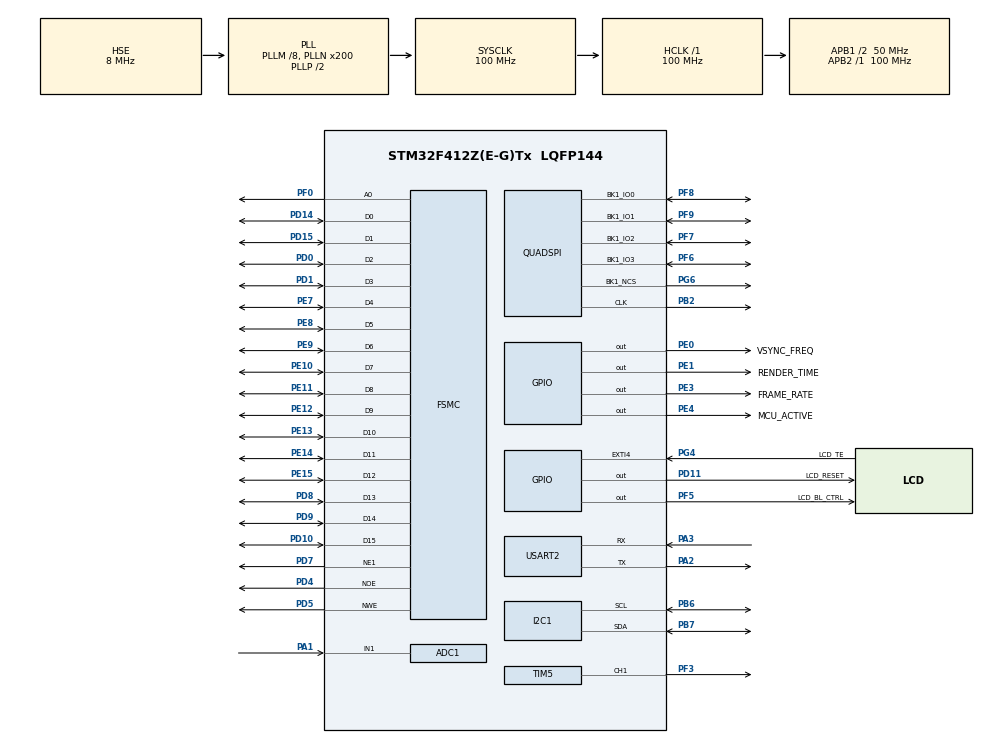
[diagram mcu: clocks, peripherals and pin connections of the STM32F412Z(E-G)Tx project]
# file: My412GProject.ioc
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ADC1.Channel-21\#ChannelRegularConversion=ADC_CHANNEL_1
ADC1.ContinuousConvMode=ENABLE
ADC1.DMAContinuousRequests=ENABLE
ADC1.NbrOfConversion=1
ADC1.NbrOfConversionFlag=1
ADC1.Rank-21\#ChannelRegularConversion=1
ADC1.SamplingTime-21\#ChannelRegularConversion=ADC_SAMPLETIME_3CYCLES
ADC1.ScanConvMode=ENABLE
ADC1.master=1
Dma.ADC1.0.Direction=DMA_PERIPH_TO_MEMORY
Dma.ADC1.0.FIFOMode=DMA_FIFOMODE_DISABLE
Dma.ADC1.0.Instance=DMA2_Stream0
Dma.ADC1.0.MemDataAlignment=DMA_MDATAALIGN_WORD
Dma.ADC1.0.MemInc=DMA_MINC_ENABLE
Dma.ADC1.0.Mode=DMA_CIRCULAR
Dma.ADC1.0.PeriphDataAlignment=DMA_PDATAALIGN_WORD
Dma.ADC1.0.PeriphInc=DMA_PINC_DISABLE
Dma.ADC1.0.Priority=DMA_PRIORITY_LOW
Dma.Request0=ADC1
FREERTOS.INCLUDE_eTaskGetState=1
FREERTOS.INCLUDE_pcTaskGetTaskName=0
FREERTOS.INCLUDE_uxTaskGetStackHighWaterMark=1
FREERTOS.INCLUDE_vTaskCleanUpResources=0
FREERTOS.INCLUDE_vTaskDelayUntil=1
FREERTOS.INCLUDE_xQueueGetMutexHolder=1
FREERTOS.INCLUDE_xSemaphoreGetMutexHolder=1
FREERTOS.INCLUDE_xTimerPendFunctionCall=1
FREERTOS.MEMORY_ALLOCATION=2
FREERTOS.Tasks01=defaultTask,24,128,StartDefaultTask,Default,NULL,Dynamic,NULL,NULL;TouchGFXTask,24,4096,TouchGFX_Task,As external,NULL,Dynamic,NULL,NULL;AdcAvgTask,8,512,StartAdcAvgTask,Default,NULL,Dynamic,NULL,NULL
FREERTOS.configTOTAL_HEAP_SIZE=32768
FREERTOS.configUSE_APPLICATION_TASK_TAG=1
FREERTOS.configUSE_COUNTING_SEMAPHORES=1
FREERTOS.configUSE_IDLE_HOOK=1
FREERTOS.configUSE_NEWLIB_REENTRANT=1
FREERTOS.configUSE_RECURSIVE_MUTEXES=1
FREERTOS.configUSE_TIMERS=1
FREERTOS.configUSE_TRACE_FACILITY=1
FSMC.AddressSetupTime1=9
FSMC.BusTurnAroundDuration1=1
FSMC.DataSetupTime1=36
FSMC.ExtendedAddressSetupTime1=1
FSMC.ExtendedBusTurnAroundDuration1=0
FSMC.ExtendedDataSetupTime1=7
FSMC.ExtendedMode1=FSMC_EXTENDED_MODE_ENABLE
FSMC.WriteFifo1=FSMC_WRITE_FIFO_DISABLE
FSMC.WriteOperation1=FSMC_WRITE_OPERATION_ENABLE
Mcu.Family=STM32F4
Mcu.Name=STM32F412Z(E-G)Tx
Mcu.Package=LQFP144
NVIC.DMA2_Stream0_IRQn=true\:5\:0\:false\:false\:true\:true\:false\:true\:true
NVIC.EXTI4_IRQn=true\:5\:0\:true\:false\:true\:false\:true\:true\:true
NVIC.I2C1_EV_IRQn=true\:1\:0\:true\:false\:true\:false\:true\:true\:true
NVIC.PriorityGroup=NVIC_PRIORITYGROUP_4
NVIC.TIM6_IRQn=true\:0\:0\:false\:false\:true\:false\:false\:true\:true
NVIC.TimeBase=TIM6_IRQn
NVIC.TimeBaseIP=TIM6
PA1.Signal=ADCx_IN1
PA2.Mode=Asynchronous
PA2.Signal=USART2_TX
PA3.Mode=Asynchronous
PA3.Signal=USART2_RX
PB2.Mode=Single Bank 1
PB2.Signal=QUADSPI_CLK
PB6.GPIO_Pu=GPIO_PULLUP
PB6.Mode=I2C
PB6.Signal=I2C1_SCL
PB7.GPIO_Pu=GPIO_PULLUP
PB7.Mode=I2C
PB7.Signal=I2C1_SDA
PD0.GPIO_PuPd=GPIO_PULLUP
PD0.Signal=FSMC_D2_DA2
PD1.GPIO_PuPd=GPIO_PULLUP
PD1.Signal=FSMC_D3_DA3
PD10.GPIO_PuPd=GPIO_PULLUP
PD10.Signal=FSMC_D15_DA15
PD11.GPIO_Label=LCD_RESET
PD11.Signal=GPIO_Output
PD14.GPIO_PuPd=GPIO_PULLUP
PD14.Signal=FSMC_D0_DA0
PD15.GPIO_PuPd=GPIO_PULLUP
PD15.Signal=FSMC_D1_DA1
PD4.GPIO_PuPd=GPIO_PULLUP
PD4.Signal=FSMC_NOE
PD5.GPIO_PuPd=GPIO_PULLUP
PD5.Signal=FSMC_NWE
PD7.GPIO_PuPd=GPIO_PULLUP
PD7.Mode=NorPsramChipSelect1_1
PD7.Signal=FSMC_NE1
PD8.GPIO_PuPd=GPIO_PULLUP
PD8.Signal=FSMC_D13_DA13
PD9.GPIO_PuPd=GPIO_PULLUP
PD9.Signal=FSMC_D14_DA14
PE0.GPIO_Label=VSYNC_FREQ
PE0.GPIO_Speed=GPIO_SPEED_FREQ_VERY_HIGH
PE0.PinState=GPIO_PIN_RESET
PE0.Signal=GPIO_Output
PE1.GPIO_Label=RENDER_TIME
PE1.GPIO_Speed=GPIO_SPEED_FREQ_VERY_HIGH
PE1.PinState=GPIO_PIN_RESET
PE1.Signal=GPIO_Output
PE10.GPIO_PuPd=GPIO_PULLUP
PE10.Signal=FSMC_D7_DA7
PE11.GPIO_PuPd=GPIO_PULLUP
PE11.Signal=FSMC_D8_DA8
PE12.GPIO_PuPd=GPIO_PULLUP
PE12.Signal=FSMC_D9_DA9
PE13.GPIO_PuPd=GPIO_PULLUP
PE13.Signal=FSMC_D10_DA10
PE14.GPIO_PuPd=GPIO_PULLUP
PE14.Signal=FSMC_D11_DA11
PE15.GPIO_PuPd=GPIO_PULLUP
PE15.Signal=FSMC_D12_DA12
PE3.GPIO_Label=FRAME_RATE
PE3.GPIO_Speed=GPIO_SPEED_FREQ_VERY_HIGH
PE3.PinState=GPIO_PIN_RESET
PE3.Signal=GPIO_Output
PE4.GPIO_Label=MCU_ACTIVE
PE4.GPIO_Speed=GPIO_SPEED_FREQ_VERY_HIGH
PE4.PinState=GPIO_PIN_RESET
PE4.Signal=GPIO_Output
PE7.GPIO_PuPd=GPIO_PULLUP
PE7.Signal=FSMC_D4_DA4
PE8.GPIO_PuPd=GPIO_PULLUP
PE8.Signal=FSMC_D5_DA5
PE9.GPIO_PuPd=GPIO_PULLUP
PE9.Signal=FSMC_D6_DA6
PF0.GPIO_PuPd=GPIO_PULLUP
PF0.Signal=FSMC_A0
PF3.Signal=S_TIM5_CH1
PF5.GPIO_Label=LCD_BL_CTRL
PF5.GPIO_Speed=GPIO_SPEED_FREQ_LOW
PF5.PinState=GPIO_PIN_RESET
PF5.Signal=GPIO_Output
PF6.Mode=Single Bank 1
PF6.Signal=QUADSPI_BK1_IO3
PF7.Mode=Single Bank 1
PF7.Signal=QUADSPI_BK1_IO2
PF8.Mode=Single Bank 1
PF8.Signal=QUADSPI_BK1_IO0
PF9.Mode=Single Bank 1
PF9.Signal=QUADSPI_BK1_IO1
PG4.GPIO_Label=LCD_TE
PG4.GPIO_ModeDefaultEXTI=GPIO_MODE_IT_RISING_FALLING
PG4.Signal=GPXTI4
PG6.Mode=Single Bank 1
PG6.Signal=QUADSPI_BK1_NCS
PH0\ -\ OSC_IN.Mode=HSE-External-Oscillator
PH0\ -\ OSC_IN.Signal=RCC_OSC_IN
PH1\ -\ OSC_OUT.Mode=HSE-External-Oscillator
PH1\ -\ OSC_OUT.Signal=RCC_OSC_OUT
ProjectManager.HeapSize=0x400
ProjectManager.StackSize=0x400
ProjectManager.TargetToolchain=STM32CubeIDE
QUADSPI.ChipSelectHighTime=QSPI_CS_HIGH_TIME_5_CYCLE
QUADSPI.ClockPrescaler=0
QUADSPI.FifoThreshold=4
QUADSPI.FlashSize=23
QUADSPI.SampleShifting=QSPI_SAMPLE_SHIFTING_HALFCYCLE
RCC.AHBFreq_Value=100000000
RCC.APB1CLKDivider=RCC_HCLK_DIV2
RCC.APB1Freq_Value=50000000
RCC.APB1TimFreq_Value=100000000
RCC.APB2Freq_Value=100000000
RCC.APB2TimFreq_Value=100000000
RCC.CortexFreq_Value=100000000
RCC.HCLKFreq_Value=100000000
RCC.HSE_VALUE=8000000
RCC.PLLI2SM=8
RCC.PLLI2SP=RCC_PLLI2SP_DIV4
RCC.PLLM=8
RCC.PLLN=200
RCC.PLLSourceVirtual=RCC_PLLSOURCE_HSE
RCC.SYSCLKFreq_VALUE=100000000
RCC.SYSCLKSource=RCC_SYSCLKSOURCE_PLLCLK
RCC.USBFreq_Value=100000000
RCC.VCOOutputFreq_Value=200000000
SH.ADCx_IN1.0=ADC1_IN1,IN1
SH.FSMC_A0.0=FSMC_A0,A0_1
SH.FSMC_D0_DA0.0=FSMC_D0,16b-d1
SH.FSMC_D10_DA10.0=FSMC_D10,16b-d1
SH.FSMC_D11_DA11.0=FSMC_D11,16b-d1
SH.FSMC_D12_DA12.0=FSMC_D12,16b-d1
SH.FSMC_D13_DA13.0=FSMC_D13,16b-d1
SH.FSMC_D14_DA14.0=FSMC_D14,16b-d1
SH.FSMC_D15_DA15.0=FSMC_D15,16b-d1
SH.FSMC_D1_DA1.0=FSMC_D1,16b-d1
SH.FSMC_D2_DA2.0=FSMC_D2,16b-d1
SH.FSMC_D3_DA3.0=FSMC_D3,16b-d1
SH.FSMC_D4_DA4.0=FSMC_D4,16b-d1
SH.FSMC_D5_DA5.0=FSMC_D5,16b-d1
SH.FSMC_D6_DA6.0=FSMC_D6,16b-d1
SH.FSMC_D7_DA7.0=FSMC_D7,16b-d1
SH.FSMC_D8_DA8.0=FSMC_D8,16b-d1
SH.FSMC_D9_DA9.0=FSMC_D9,16b-d1
SH.FSMC_NOE.0=FSMC_NOE,Lcd1
SH.FSMC_NWE.0=FSMC_NWE,Lcd1
SH.S_TIM5_CH1.0=TIM5_CH1,PWM Generation1 CH1
TIM5.AutoReloadPreload=TIM_AUTORELOAD_PRELOAD_ENABLE
TIM5.Channel-PWM\ Generation1\ CH1=TIM_CHANNEL_1
TIM5.Period=1000
USART2.VirtualMode=VM_ASYNC
VP_CRC_VS_CRC.Mode=CRC_Activate
VP_FREERTOS_VS_CMSIS_V2.Mode=CMSIS_V2
VP_SYS_VS_tim6.Mode=TIM6
VP_TIM5_VS_ClockSourceINT.Mode=Internal
board=custom

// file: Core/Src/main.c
/* USER CODE BEGIN Header */
/**
  ******************************************************************************
  * @file           : main.c
  * @brief          : Main program body
  ******************************************************************************
  * @attention
  *
  * <h2><center>&copy; Copyright (c) 2020 STMicroelectronics.
  * All rights reserved.</center></h2>
  *
  * This software component is licensed by ST under Ultimate Liberty license
  * SLA0044, the "License"; You may not use this file except in compliance with
  * the License. You may obtain a copy of the License at:
  *                             www.st.com/SLA0044
  *
  ******************************************************************************
  */
/* USER CODE END Header */
#include "main.h"
#include "cmsis_os.h"

/* USER CODE BEGIN Includes */
#if !defined(USE_BSP_DRIVER)
#include "../n25q128a/n25q128a.h"
#else
#include "stm32412g_discovery_qspi.h"
#endif /* ! USE_BSP_DRIVER */
/* USER CODE END Includes */

/* USER CODE BEGIN PTD */

/* INTERRUPT callback function */
/* UART handler declaration */

/* Private function prototypes -----------------------------------------------*/

#ifdef __GNUC__
/* With GCC, small printf (option LD Linker->Libraries->Small printf
   set to 'Yes') calls __io_putchar() */
#define PUTCHAR_PROTOTYPE int __io_putchar(int ch)
#else
#define PUTCHAR_PROTOTYPE int fputc(int ch, FILE *f)
#endif /* __GNUC__ */
static void SystemClock_Config(void);

/* Private functions ---------------------------------------------------------*/
#define ADC_SAMPLES_NUM 128
#define PWM_COUNTER_VAL 1024

ADC_HandleTypeDef hadc1;
TIM_HandleTypeDef htim5;

uint32_t adc_val;
float adc_avg;
volatile uint32_t buffer[ADC_SAMPLES_NUM];
uint32_t shadowBuffer[ADC_SAMPLES_NUM]; // Copy data here before processing
uint32_t pwm_div;

void HAL_ADC_ConvCpltCallback(ADC_HandleTypeDef* hadc)
{

    if (hadc->Instance == ADC1) // Check if it's the correct ADC
    {
        // Start ADC conversion again
        memcpy(shadowBuffer, buffer, sizeof(buffer)); // Copy stable data
    }
}
void AdcDmaStart()
{
    printf("AdcDmaStart \r\n");
    HAL_StatusTypeDef status = HAL_ADC_Start_DMA(&hadc1, buffer, ADC_SAMPLES_NUM);

    if (status != HAL_OK)
    {
        printf("ADC DMA Start Failed! Error: %d\r\n", status);
    }
    else
    {
        printf("ADC DMA Started Successfully!\r\n");
    }
    printf("ADC Interrupt Enabled: %lu\n", __HAL_ADC_GET_IT_SOURCE(&hadc1, ADC_IT_EOC));

}
void PwmSetDC(void *argument)
{
	if(pwm_div == 0 ){
		pwm_div = 1;
	}
  __HAL_TIM_SET_COMPARE(&htim5, TIM_CHANNEL_1, PWM_COUNTER_VAL * (float)((float)pwm_div / 100));
}
/* USER CODE END PTD */

/* USER CODE BEGIN PD */
/* QSPI Error codes */
#if !defined(USE_BSP_DRIVER)
#define QSPI_OK            ((uint8_t)0x00)
#define QSPI_ERROR         ((uint8_t)0x01)
#define QSPI_BUSY          ((uint8_t)0x02)
#define QSPI_NOT_SUPPORTED ((uint8_t)0x04)
#define QSPI_SUSPENDED     ((uint8_t)0x08)
#endif /* ! USE_BSP_DRIVER */
/* USER CODE END PD */

ADC_HandleTypeDef hadc1;
DMA_HandleTypeDef hdma_adc1;

CRC_HandleTypeDef hcrc;

I2C_HandleTypeDef hi2c1;

QSPI_HandleTypeDef hqspi;

TIM_HandleTypeDef htim5;

UART_HandleTypeDef huart2;

SRAM_HandleTypeDef hsram1;

/* Definitions for defaultTask */
osThreadId_t defaultTaskHandle;
const osThreadAttr_t defaultTask_attributes = {
  .name = "defaultTask",
  .stack_size = 128 * 4,
  .priority = (osPriority_t) osPriorityNormal,
};
/* Definitions for TouchGFXTask */
osThreadId_t TouchGFXTaskHandle;
const osThreadAttr_t TouchGFXTask_attributes = {
  .name = "TouchGFXTask",
  .stack_size = 4096 * 4,
  .priority = (osPriority_t) osPriorityNormal,
};
/* Definitions for AdcAvgTask */
osThreadId_t AdcAvgTaskHandle;
const osThreadAttr_t AdcAvgTask_attributes = {
  .name = "AdcAvgTask",
  .stack_size = 512 * 4,
  .priority = (osPriority_t) osPriorityLow,
};

void SystemClock_Config(void);
static void MX_GPIO_Init(void);
static void MX_DMA_Init(void);
static void MX_CRC_Init(void);
static void MX_FSMC_Init(void);
static void MX_QUADSPI_Init(void);
static void MX_USART2_UART_Init(void);
static void MX_TIM5_Init(void);
static void MX_ADC1_Init(void);
void StartDefaultTask(void *argument);
extern void TouchGFX_Task(void *argument);
void StartAdcAvgTask(void *argument);

/* USER CODE BEGIN PFP */
extern void TouchGFX_TickHandler(uint8_t PinStatus);
__weak uint8_t BSP_QSPI_EnableMemoryMappedMode(void);
/* USER CODE END PFP */

/* USER CODE BEGIN 0 */
PUTCHAR_PROTOTYPE
{
  /* Place your implementation of fputc here */
  /* e.g. write a character to the USART2 and Loop until the end of transmission */
  HAL_UART_Transmit(&huart2, (uint8_t *)&ch, 1, 0xFFFF);

  return ch;
}
/* USER CODE END 0 */

int main(void)
{

  /* MCU Configuration--------------------------------------------------------*/

  /* Reset of all peripherals, Initializes the Flash interface and the Systick. */
  HAL_Init();

  /* Configure the system clock */
  SystemClock_Config();

  /* Initialize all configured peripherals */
  MX_GPIO_Init();
  MX_DMA_Init();
  MX_CRC_Init();
  MX_FSMC_Init();
  MX_I2C1_Init();
  MX_QUADSPI_Init();
  MX_USART2_UART_Init();
  MX_TIM5_Init();
  MX_ADC1_Init();
  /* USER CODE BEGIN 2 */
  /* Call PreOsInit function */
  printf("STM32F412G Touch GFX Trial\n\r");
  HAL_TIM_PWM_Start(&htim5, TIM_CHANNEL_1);
  __HAL_TIM_SET_COMPARE(&htim5, TIM_CHANNEL_1, PWM_COUNTER_VAL/2);
  MX_TouchGFX_Init();
  MX_TouchGFX_PreOSInit();
  AdcDmaStart();
  /* USER CODE END 2 */

  /* Init scheduler */
  osKernelInitialize();

  /* Create the thread(s) */
  /* creation of defaultTask */
  defaultTaskHandle = osThreadNew(StartDefaultTask, NULL, &defaultTask_attributes);

  /* creation of TouchGFXTask */
  TouchGFXTaskHandle = osThreadNew(TouchGFX_Task, NULL, &TouchGFXTask_attributes);

  /* creation of AdcAvgTask */
  AdcAvgTaskHandle = osThreadNew(StartAdcAvgTask, NULL, &AdcAvgTask_attributes);

  /* Start scheduler */
  osKernelStart();

  /* We should never get here as control is now taken by the scheduler */

  /* Infinite loop */
  while (1)
  {

  }
}

void SystemClock_Config(void)
{
  RCC_OscInitTypeDef RCC_OscInitStruct = {0};
  RCC_ClkInitTypeDef RCC_ClkInitStruct = {0};

  /** Configure the main internal regulator output voltage
  */
  __HAL_RCC_PWR_CLK_ENABLE();
  __HAL_PWR_VOLTAGESCALING_CONFIG(PWR_REGULATOR_VOLTAGE_SCALE1);

  /** Initializes the RCC Oscillators according to the specified parameters
  * in the RCC_OscInitTypeDef structure.
  */
  RCC_OscInitStruct.OscillatorType = RCC_OSCILLATORTYPE_HSE;
  RCC_OscInitStruct.HSEState = RCC_HSE_ON;
  RCC_OscInitStruct.PLL.PLLState = RCC_PLL_ON;
  RCC_OscInitStruct.PLL.PLLSource = RCC_PLLSOURCE_HSE;
  RCC_OscInitStruct.PLL.PLLM = 8;
  RCC_OscInitStruct.PLL.PLLN = 200;
  RCC_OscInitStruct.PLL.PLLP = RCC_PLLP_DIV2;
  RCC_OscInitStruct.PLL.PLLQ = 2;
  RCC_OscInitStruct.PLL.PLLR = 2;
  if (HAL_RCC_OscConfig(&RCC_OscInitStruct) != HAL_OK)
  {
    Error_Handler();
  }

  /** Initializes the CPU, AHB and APB buses clocks
  */
  RCC_ClkInitStruct.ClockType = RCC_CLOCKTYPE_HCLK|RCC_CLOCKTYPE_SYSCLK
                              |RCC_CLOCKTYPE_PCLK1|RCC_CLOCKTYPE_PCLK2;
  RCC_ClkInitStruct.SYSCLKSource = RCC_SYSCLKSOURCE_PLLCLK;
  RCC_ClkInitStruct.AHBCLKDivider = RCC_SYSCLK_DIV1;
  RCC_ClkInitStruct.APB1CLKDivider = RCC_HCLK_DIV2;
  RCC_ClkInitStruct.APB2CLKDivider = RCC_HCLK_DIV1;

  if (HAL_RCC_ClockConfig(&RCC_ClkInitStruct, FLASH_LATENCY_3) != HAL_OK)
  {
    Error_Handler();
  }
}

static void MX_ADC1_Init(void)
{

  ADC_ChannelConfTypeDef sConfig = {0};

  /** Configure the global features of the ADC (Clock, Resolution, Data Alignment and number of conversion)
  */
  hadc1.Instance = ADC1;
  hadc1.Init.ClockPrescaler = ADC_CLOCK_SYNC_PCLK_DIV4;
  hadc1.Init.Resolution = ADC_RESOLUTION_12B;
  hadc1.Init.ScanConvMode = ENABLE;
  hadc1.Init.ContinuousConvMode = ENABLE;
  hadc1.Init.DiscontinuousConvMode = DISABLE;
  hadc1.Init.ExternalTrigConvEdge = ADC_EXTERNALTRIGCONVEDGE_NONE;
  hadc1.Init.ExternalTrigConv = ADC_SOFTWARE_START;
  hadc1.Init.DataAlign = ADC_DATAALIGN_RIGHT;
  hadc1.Init.NbrOfConversion = 1;
  hadc1.Init.DMAContinuousRequests = ENABLE;
  hadc1.Init.EOCSelection = ADC_EOC_SINGLE_CONV;
  if (HAL_ADC_Init(&hadc1) != HAL_OK)
  {
    Error_Handler();
  }

  /** Configure for the selected ADC regular channel its corresponding rank in the sequencer and its sample time.
  */
  sConfig.Channel = ADC_CHANNEL_1;
  sConfig.Rank = 1;
  sConfig.SamplingTime = ADC_SAMPLETIME_3CYCLES;
  if (HAL_ADC_ConfigChannel(&hadc1, &sConfig) != HAL_OK)
  {
    Error_Handler();
  }

}

static void MX_CRC_Init(void)
{

  hcrc.Instance = CRC;
  if (HAL_CRC_Init(&hcrc) != HAL_OK)
  {
    Error_Handler();
  }

}

void MX_I2C1_Init(void)
{

  hi2c1.Instance = I2C1;
  hi2c1.Init.ClockSpeed = 100000;
  hi2c1.Init.DutyCycle = I2C_DUTYCYCLE_2;
  hi2c1.Init.OwnAddress1 = 0;
  hi2c1.Init.AddressingMode = I2C_ADDRESSINGMODE_7BIT;
  hi2c1.Init.DualAddressMode = I2C_DUALADDRESS_DISABLE;
  hi2c1.Init.OwnAddress2 = 0;
  hi2c1.Init.GeneralCallMode = I2C_GENERALCALL_DISABLE;
  hi2c1.Init.NoStretchMode = I2C_NOSTRETCH_DISABLE;
  if (HAL_I2C_Init(&hi2c1) != HAL_OK)
  {
    Error_Handler();
  }

}

static void MX_QUADSPI_Init(void)
{

  /* QUADSPI parameter configuration*/
  hqspi.Instance = QUADSPI;
  hqspi.Init.ClockPrescaler = 0;
  hqspi.Init.FifoThreshold = 4;
  hqspi.Init.SampleShifting = QSPI_SAMPLE_SHIFTING_HALFCYCLE;
  hqspi.Init.FlashSize = 23;
  hqspi.Init.ChipSelectHighTime = QSPI_CS_HIGH_TIME_5_CYCLE;
  hqspi.Init.ClockMode = QSPI_CLOCK_MODE_0;
  hqspi.Init.FlashID = QSPI_FLASH_ID_1;
  hqspi.Init.DualFlash = QSPI_DUALFLASH_DISABLE;
  if (HAL_QSPI_Init(&hqspi) != HAL_OK)
  {
    Error_Handler();
  }
  /* USER CODE BEGIN QUADSPI_Init 2 */
#if defined(USE_BSP_DRIVER)
  /* Re-Initialize the QSPI */
  BSP_QSPI_DeInit();

  if (BSP_QSPI_Init() != QSPI_OK)
  {
    Error_Handler( );
  }
#endif /* ! USE_BSP_DRIVER */
  if (BSP_QSPI_EnableMemoryMappedMode() != QSPI_OK)
  {
    Error_Handler( );
  }

  HAL_NVIC_DisableIRQ(QUADSPI_IRQn);
  /* USER CODE END QUADSPI_Init 2 */

}

static void MX_TIM5_Init(void)
{

  TIM_ClockConfigTypeDef sClockSourceConfig = {0};
  TIM_MasterConfigTypeDef sMasterConfig = {0};
  TIM_OC_InitTypeDef sConfigOC = {0};

  htim5.Instance = TIM5;
  htim5.Init.Prescaler = 0;
  htim5.Init.CounterMode = TIM_COUNTERMODE_UP;
  htim5.Init.Period = 1000;
  htim5.Init.ClockDivision = TIM_CLOCKDIVISION_DIV1;
  htim5.Init.AutoReloadPreload = TIM_AUTORELOAD_PRELOAD_ENABLE;
  if (HAL_TIM_Base_Init(&htim5) != HAL_OK)
  {
    Error_Handler();
  }
  sClockSourceConfig.ClockSource = TIM_CLOCKSOURCE_INTERNAL;
  if (HAL_TIM_ConfigClockSource(&htim5, &sClockSourceConfig) != HAL_OK)
  {
    Error_Handler();
  }
  if (HAL_TIM_PWM_Init(&htim5) != HAL_OK)
  {
    Error_Handler();
  }
  sMasterConfig.MasterOutputTrigger = TIM_TRGO_RESET;
  sMasterConfig.MasterSlaveMode = TIM_MASTERSLAVEMODE_DISABLE;
  if (HAL_TIMEx_MasterConfigSynchronization(&htim5, &sMasterConfig) != HAL_OK)
  {
    Error_Handler();
  }
  sConfigOC.OCMode = TIM_OCMODE_PWM1;
  sConfigOC.Pulse = 0;
  sConfigOC.OCPolarity = TIM_OCPOLARITY_HIGH;
  sConfigOC.OCFastMode = TIM_OCFAST_DISABLE;
  if (HAL_TIM_PWM_ConfigChannel(&htim5, &sConfigOC, TIM_CHANNEL_1) != HAL_OK)
  {
    Error_Handler();
  }
  HAL_TIM_MspPostInit(&htim5);

}

static void MX_USART2_UART_Init(void)
{

  huart2.Instance = USART2;
  huart2.Init.BaudRate = 115200;
  huart2.Init.WordLength = UART_WORDLENGTH_8B;
  huart2.Init.StopBits = UART_STOPBITS_1;
  huart2.Init.Parity = UART_PARITY_NONE;
  huart2.Init.Mode = UART_MODE_TX_RX;
  huart2.Init.HwFlowCtl = UART_HWCONTROL_NONE;
  huart2.Init.OverSampling = UART_OVERSAMPLING_16;
  if (HAL_UART_Init(&huart2) != HAL_OK)
  {
    Error_Handler();
  }

}

static void MX_DMA_Init(void)
{

  /* DMA controller clock enable */
  __HAL_RCC_DMA2_CLK_ENABLE();

  /* DMA interrupt init */
  /* DMA2_Stream0_IRQn interrupt configuration */
  HAL_NVIC_SetPriority(DMA2_Stream0_IRQn, 5, 0);
  HAL_NVIC_EnableIRQ(DMA2_Stream0_IRQn);

}

static void MX_GPIO_Init(void)
{
  GPIO_InitTypeDef GPIO_InitStruct = {0};

  /* GPIO Ports Clock Enable */
  __HAL_RCC_GPIOE_CLK_ENABLE();
  __HAL_RCC_GPIOF_CLK_ENABLE();
  __HAL_RCC_GPIOH_CLK_ENABLE();
  __HAL_RCC_GPIOA_CLK_ENABLE();
  __HAL_RCC_GPIOB_CLK_ENABLE();
  __HAL_RCC_GPIOD_CLK_ENABLE();
  __HAL_RCC_GPIOG_CLK_ENABLE();

  /*Configure GPIO pin Output Level */
  HAL_GPIO_WritePin(GPIOE, FRAME_RATE_Pin|MCU_ACTIVE_Pin|VSYNC_FREQ_Pin|RENDER_TIME_Pin, GPIO_PIN_RESET);

  /*Configure GPIO pin Output Level */
  HAL_GPIO_WritePin(LCD_BL_CTRL_GPIO_Port, LCD_BL_CTRL_Pin, GPIO_PIN_RESET);

  /*Configure GPIO pin Output Level */
  HAL_GPIO_WritePin(LCD_RESET_GPIO_Port, LCD_RESET_Pin, GPIO_PIN_RESET);

  /*Configure GPIO pins : FRAME_RATE_Pin MCU_ACTIVE_Pin VSYNC_FREQ_Pin RENDER_TIME_Pin */
  GPIO_InitStruct.Pin = FRAME_RATE_Pin|MCU_ACTIVE_Pin|VSYNC_FREQ_Pin|RENDER_TIME_Pin;
  GPIO_InitStruct.Mode = GPIO_MODE_OUTPUT_PP;
  GPIO_InitStruct.Pull = GPIO_NOPULL;
  GPIO_InitStruct.Speed = GPIO_SPEED_FREQ_VERY_HIGH;
  HAL_GPIO_Init(GPIOE, &GPIO_InitStruct);

  /*Configure GPIO pin : LCD_BL_CTRL_Pin */
  GPIO_InitStruct.Pin = LCD_BL_CTRL_Pin;
  GPIO_InitStruct.Mode = GPIO_MODE_OUTPUT_PP;
  GPIO_InitStruct.Pull = GPIO_NOPULL;
  GPIO_InitStruct.Speed = GPIO_SPEED_FREQ_LOW;
  HAL_GPIO_Init(LCD_BL_CTRL_GPIO_Port, &GPIO_InitStruct);

  /*Configure GPIO pin : LCD_RESET_Pin */
  GPIO_InitStruct.Pin = LCD_RESET_Pin;
  GPIO_InitStruct.Mode = GPIO_MODE_OUTPUT_PP;
  GPIO_InitStruct.Pull = GPIO_NOPULL;
  GPIO_InitStruct.Speed = GPIO_SPEED_FREQ_LOW;
  HAL_GPIO_Init(LCD_RESET_GPIO_Port, &GPIO_InitStruct);

  /*Configure GPIO pin : LCD_TE_Pin */
  GPIO_InitStruct.Pin = LCD_TE_Pin;
  GPIO_InitStruct.Mode = GPIO_MODE_IT_RISING_FALLING;
  GPIO_InitStruct.Pull = GPIO_NOPULL;
  HAL_GPIO_Init(LCD_TE_GPIO_Port, &GPIO_InitStruct);

  /* EXTI interrupt init*/
  HAL_NVIC_SetPriority(EXTI4_IRQn, 5, 0);
  HAL_NVIC_EnableIRQ(EXTI4_IRQn);

}

/* FSMC initialization function */
static void MX_FSMC_Init(void)
{

  FSMC_NORSRAM_TimingTypeDef Timing = {0};
  FSMC_NORSRAM_TimingTypeDef ExtTiming = {0};

  /** Perform the SRAM1 memory initialization sequence
  */
  hsram1.Instance = FSMC_NORSRAM_DEVICE;
  hsram1.Extended = FSMC_NORSRAM_EXTENDED_DEVICE;
  /* hsram1.Init */
  hsram1.Init.NSBank = FSMC_NORSRAM_BANK1;
  hsram1.Init.DataAddressMux = FSMC_DATA_ADDRESS_MUX_DISABLE;
  hsram1.Init.MemoryType = FSMC_MEMORY_TYPE_SRAM;
  hsram1.Init.MemoryDataWidth = FSMC_NORSRAM_MEM_BUS_WIDTH_16;
  hsram1.Init.BurstAccessMode = FSMC_BURST_ACCESS_MODE_DISABLE;
  hsram1.Init.WaitSignalPolarity = FSMC_WAIT_SIGNAL_POLARITY_LOW;
  hsram1.Init.WaitSignalActive = FSMC_WAIT_TIMING_BEFORE_WS;
  hsram1.Init.WriteOperation = FSMC_WRITE_OPERATION_ENABLE;
  hsram1.Init.WaitSignal = FSMC_WAIT_SIGNAL_DISABLE;
  hsram1.Init.ExtendedMode = FSMC_EXTENDED_MODE_ENABLE;
  hsram1.Init.AsynchronousWait = FSMC_ASYNCHRONOUS_WAIT_DISABLE;
  hsram1.Init.WriteBurst = FSMC_WRITE_BURST_DISABLE;
  hsram1.Init.ContinuousClock = FSMC_CONTINUOUS_CLOCK_SYNC_ONLY;
  hsram1.Init.WriteFifo = FSMC_WRITE_FIFO_DISABLE;
  hsram1.Init.PageSize = FSMC_PAGE_SIZE_NONE;
  /* Timing */
  Timing.AddressSetupTime = 9;
  Timing.AddressHoldTime = 15;
  Timing.DataSetupTime = 36;
  Timing.BusTurnAroundDuration = 1;
  Timing.CLKDivision = 16;
  Timing.DataLatency = 17;
  Timing.AccessMode = FSMC_ACCESS_MODE_A;
  /* ExtTiming */
  ExtTiming.AddressSetupTime = 1;
  ExtTiming.AddressHoldTime = 15;
  ExtTiming.DataSetupTime = 7;
  ExtTiming.BusTurnAroundDuration = 0;
  ExtTiming.CLKDivision = 16;
  ExtTiming.DataLatency = 17;
  ExtTiming.AccessMode = FSMC_ACCESS_MODE_A;

  if (HAL_SRAM_Init(&hsram1, &Timing, &ExtTiming) != HAL_OK)
  {
    Error_Handler( );
  }

}

/* USER CODE BEGIN 4 */
/************************************************  QSPI BSP ************************************************/
__weak uint8_t BSP_QSPI_EnableMemoryMappedMode(void)
{
  QSPI_CommandTypeDef      s_command;
  QSPI_MemoryMappedTypeDef s_mem_mapped_cfg;

  /* Configure the command for the read instruction */
  s_command.InstructionMode   = QSPI_INSTRUCTION_1_LINE;
  s_command.Instruction       = QUAD_INOUT_FAST_READ_CMD;
  s_command.AddressMode       = QSPI_ADDRESS_4_LINES;
  s_command.AddressSize       = QSPI_ADDRESS_24_BITS;
  s_command.AlternateByteMode = QSPI_ALTERNATE_BYTES_NONE;
  s_command.DataMode          = QSPI_DATA_4_LINES;
  s_command.DummyCycles       = N25Q128A_DUMMY_CYCLES_READ_QUAD;
  s_command.DdrMode           = QSPI_DDR_MODE_DISABLE;
  s_command.DdrHoldHalfCycle  = QSPI_DDR_HHC_ANALOG_DELAY;
  s_command.SIOOMode          = QSPI_SIOO_INST_EVERY_CMD;

  /* Configure the memory mapped mode */
  s_mem_mapped_cfg.TimeOutActivation = QSPI_TIMEOUT_COUNTER_DISABLE;

  if (HAL_QSPI_MemoryMapped(&hqspi, &s_command, &s_mem_mapped_cfg) != HAL_OK)
  {
    return QSPI_ERROR;
  }

  return QSPI_OK;
}

void HAL_GPIO_EXTI_Callback(uint16_t GPIO_Pin)
{
  /* Prevent unused argument(s) compilation warning */
  if(GPIO_Pin == LCD_TE_Pin)
  {
    uint8_t PinStatus = (HAL_GPIO_ReadPin(LCD_TE_GPIO_Port, LCD_TE_Pin) == GPIO_PIN_SET ? 1 : 0);

    TouchGFX_TickHandler(PinStatus);
  }
}
/* USER CODE END 4 */

void StartDefaultTask(void *argument)
{
  /* USER CODE BEGIN 5 */
  /* Infinite loop */
  for(;;)
  {
    osDelay(10);
  }
  /* USER CODE END 5 */
}

void StartAdcAvgTask(void *argument)
{
  /* USER CODE BEGIN StartAdcAvgTask */
  /* Infinite loop */
  for(;;)
  {
		for(int i = 0 ; i < ADC_SAMPLES_NUM; i++){
			adc_val += shadowBuffer[i];

		}
		adc_avg = (adc_val/ADC_SAMPLES_NUM)*0.0008056640625;
		adc_val = 0;

    osDelay(800);
  }
  /* USER CODE END StartAdcAvgTask */
}

void HAL_TIM_PeriodElapsedCallback(TIM_HandleTypeDef *htim)
{
  if (htim->Instance == TIM6) {
    HAL_IncTick();
  }
}

void Error_Handler(void)
{
}
